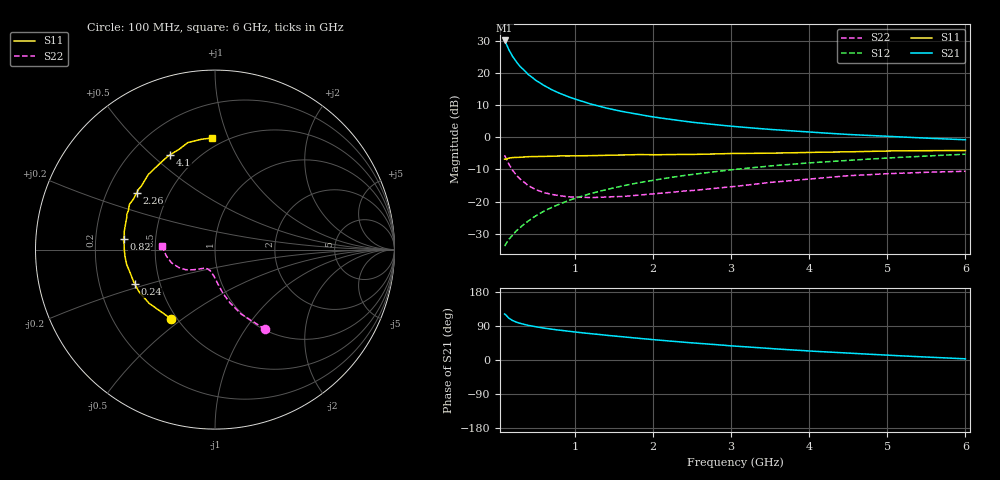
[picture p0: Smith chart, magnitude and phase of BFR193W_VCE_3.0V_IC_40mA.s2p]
! Infineon Technologies  Discrete & RF Semiconductors
! BFR193W
! VCE =  3.0 V,  IC =  40 mA
! Common Emitter S-Parameters:  Nov 2015
# GHz  S  MA  R  50
!  f  S11  S21  S12  S22
! GHz  MAG  ANG  MAG  ANG  MAG  ANG  MAG  ANG
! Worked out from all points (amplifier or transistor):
!   192 points, 100 MHz to 6 GHz, reference 50 ohm
!   highest |S21| = 30.2 dB at 100 MHz (marker M1)
!   |S21| within 3 dB of that: start of sweep to 156.7 MHz
!   unconditionally stable (mu >= 1): 568.9 MHz to 2.376 GHz; 2.432 GHz to 2.541 GHz
!   at 440 MHz: K = 0.97, MSG = 22.2 dB, |S12| = -25.4 dB
!   at 1.7 GHz: K = 1.02, MAG = 10.3 dB, |S12| = -14.7 dB
!   at 6 GHz: K = 0.92, MSG = 2.2 dB, |S12| = -5.3 dB
!   S11 on the Smith chart (normalised r, x): 100 MHz: 0.47, -0.46; 240 MHz: 0.36, -0.18; 820 MHz: 0.32, +0.05; 2.26 GHz: 0.33, +0.29; 4.1 GHz: 0.36, +0.58; 6 GHz: 0.43, +0.88
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0.1  0.4569 -122.2  32.18 121.4  0.0202 60.0  0.5249 -57.8
0.15  0.4739 -141.0  23.49 110.8  0.0254 60.5  0.3886 -67.8
0.2  0.4841 -151.0  18.31 104.2  0.0297 62.5  0.3096 -74.1
0.24  0.4864 -156.6  15.6 100.8  0.0339 64.0  0.2667 -77.9
0.26  0.4876 -159.0  14.46 99.2  0.0358 64.7  0.2495 -79.5
0.3  0.4887 -163.2  12.61 96.4  0.0396 66.2  0.223 -81.9
0.4  0.4993 -170.6  9.556 91.4  0.0494 68.9  0.1781 -87.1
0.5  0.5026 -175.5  7.703 87.6  0.06 70.4  0.1527 -91.1
0.6  0.5051 -179.7  6.453 84.3  0.0703 71.3  0.1383 -95.4
0.7  0.5069 177.0  5.53 81.3  0.0806 71.7  0.1291 -98.2
0.82  0.5129 173.4  4.763 78.2  0.0931 71.8  0.1228 -102.0
0.92  0.5123 170.7  4.258 75.7  0.1039 71.6  0.1184 -104.3
1.1  0.5163 166.2  3.617 71.8  0.1225 71.0  0.1162 -109.0
1.2  0.5179 163.8  3.303 69.5  0.1328 70.6  0.1153 -112.0
1.5  0.5289 158.1  2.683 63.4  0.1636 69.0  0.1193 -118.4
1.8  0.5392 152.2  2.279 57.5  0.1945 67.0  0.1253 -123.6
2.08  0.5357 146.9  2.012 52.4  0.2224 64.8  0.1341 -127.2
2.26  0.5391 143.9  1.875 49.2  0.2404 63.4  0.1403 -129.3
3.1  0.5604 130.1  1.453 36.0  0.3207 56.3  0.1746 -139.9
4.1  0.5846 115.2  1.186 22.6  0.4074 47.4  0.2295 -155.5
5.1  0.6152 102.8  1.025 11.7  0.4831 38.8  0.274 -173.2
6  0.6223 91.3  0.916 3.1  0.5461 31.1  0.2963 176.3
